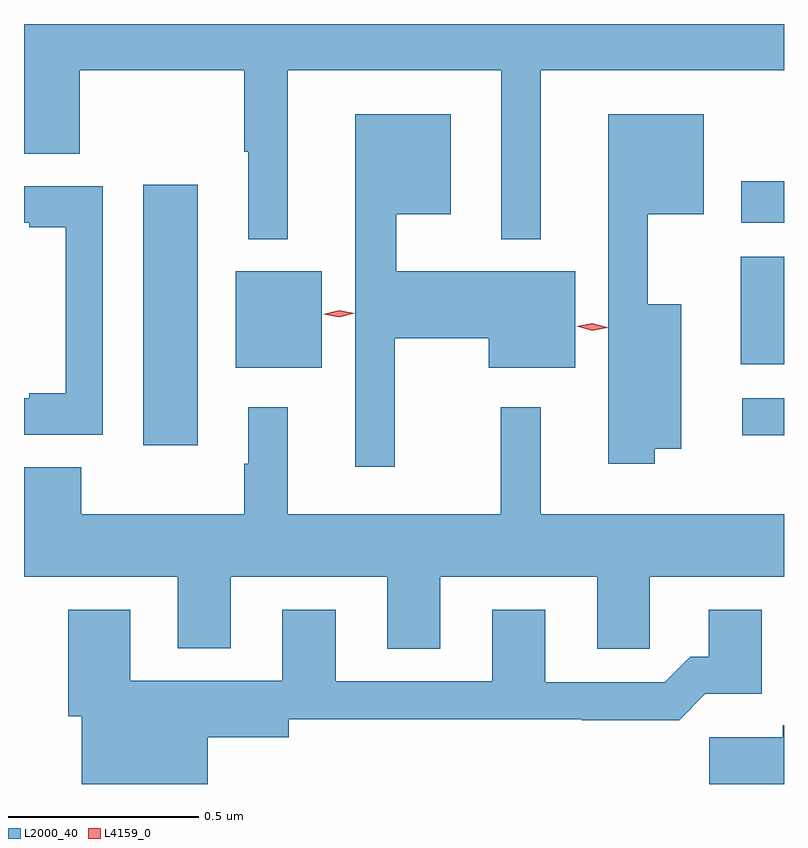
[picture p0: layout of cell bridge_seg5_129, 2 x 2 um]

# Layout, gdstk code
import gdstk
lib = gdstk.Library(unit=1e-6, precision=1e-09)
def R(c, l, rs):  # rectangles x0, y0, x1, y1
    for r in rs: c.add(gdstk.rectangle(r[:2], r[2:], *l))
def P(c, l, *ps):  # polygons
    for p in ps: c.add(gdstk.Polygon(p, *l))
L2000_40 = (2000, 40)
L4159_0 = (4159, 0)

bridge_seg5_129 = lib.new_cell('bridge_seg5_129')
R(bridge_seg5_129, L2000_40, [(450.167,873.09,450.31,873.775), (451.743,873.116,451.853,873.213), (450.41,873.293,450.637,873.547), (451.739,873.302,451.853,873.586), (451.74,873.675,451.853,873.784)])
P(bridge_seg5_129, L2000_40, [(450.547,874.076),(451.109,874.076),(451.109,873.632),(451.213,873.632),(451.213,874.076),(451.853,874.076),(451.853,874.198),(449.853,874.198),(449.853,873.856),(450,873.856),(450,874.076),(450.433,874.076),(450.433,873.862),(450.443,873.862),(450.443,873.632),(450.547,873.632)],
  [(451.513,873.08),(451.582,873.08),(451.582,873.46),(451.495,873.46),(451.495,873.698),(451.642,873.698),(451.642,873.961),(451.391,873.961),(451.391,873.041),(451.513,873.041)],
  [(450.829,873.371),(451.076,873.371),(451.076,873.293),(451.303,873.293),(451.303,873.547),(450.832,873.547),(450.832,873.698),(450.976,873.698),(450.976,873.961),(450.725,873.961),(450.725,873.033),(450.829,873.033)],
  [(450.06,873.771),(449.853,873.771),(449.853,873.675),(449.867,873.675),(449.867,873.663),(449.963,873.663),(449.963,873.226),(449.867,873.226),(449.867,873.213),(449.853,873.213),(449.853,873.117),(450.06,873.117)],
  [(450.949,872.744),(451.361,872.744),(451.361,872.554),(451.5,872.554),(451.5,872.744),(451.853,872.744),(451.853,872.908),(451.213,872.908),(451.213,873.19),(451.107,873.19),(451.107,872.908),(450.547,872.908),(450.547,873.19),(450.443,873.19),(450.443,873.041),(450.433,873.041),(450.433,872.908),(450.003,872.908),(450.003,873.032),(449.853,873.032),(449.853,872.744),(450.257,872.744),(450.257,872.555),(450.397,872.555),(450.397,872.744),(450.809,872.744),(450.809,872.554),(450.949,872.554)],
  [(450.337,872.321),(450.55,872.321),(450.55,872.368),(451.321,872.368),(451.321,872.366),(451.577,872.366),(451.646,872.435),(451.795,872.435),(451.795,872.656),(451.655,872.656),(451.655,872.533),(451.606,872.533),(451.539,872.466),(451.225,872.466),(451.225,872.656),(451.085,872.656),(451.085,872.469),(450.673,872.469),(450.673,872.656),(450.533,872.656),(450.533,872.47),(450.133,872.47),(450.133,872.656),(449.969,872.656),(449.969,872.376),(450.005,872.376),(450.005,872.198),(450.337,872.198)],
  [(451.853,872.353),(451.85,872.353),(451.85,872.321),(451.656,872.321),(451.656,872.198),(451.853,872.198)])
P(bridge_seg5_129, L4159_0, [(451.348,873.391),(451.308,873.402),(451.307,873.403),(451.308,873.403),(451.348,873.411),(451.388,873.4),(451.388,873.399),(451.388,873.399)],
  [(450.682,873.426),(450.641,873.434),(450.641,873.434),(450.641,873.434),(450.682,873.445),(450.723,873.437),(450.723,873.437),(450.723,873.437)])

lib.write_gds('bridge_seg5_129.gds')
